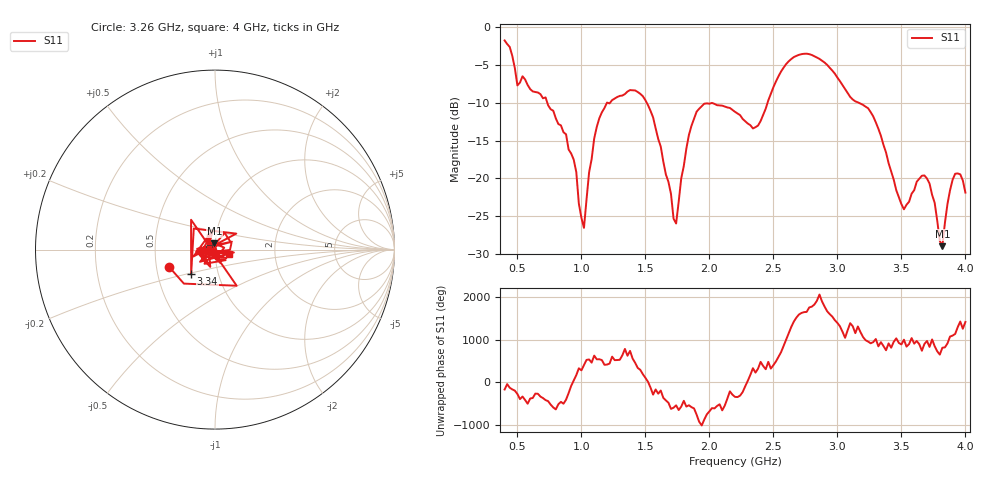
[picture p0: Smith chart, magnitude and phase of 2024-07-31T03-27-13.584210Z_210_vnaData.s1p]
!Created with skrf (http://scikit-rf.org).
# Hz S RI R 50.0
!freq ReS11 ImS11
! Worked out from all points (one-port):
!   181 points, 400 MHz to 4 GHz, reference 50 ohm
!   lowest |S11| = -28.9 dB at 3.82 GHz (marker M1), VSWR 1.07, Z = 49.6 + j3.53 ohm
!   |S11| at or under -10 dB: 733.4 MHz to 1.2 GHz (466.1 MHz wide, 48.2 % of centre); 1.51 GHz to 2.454 GHz (944.1 MHz wide, 47.6 % of centre); 3.166 GHz to end of sweep (the widest 3 of 4)
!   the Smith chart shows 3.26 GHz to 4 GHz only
!   S11 on the Smith chart (normalised r, x): 3.26 GHz: 0.58, -0.12; 3.34 GHz: 0.74, -0.21; 4 GHz: 1.16, -0.06
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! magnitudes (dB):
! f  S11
! 400 MHz  -1.8
! 500 MHz  -7.7
! 720 MHz  -9.3
! 860 MHz  -13.9
! 940 MHz  -17.5
! 1.02 GHz  -26.5
! 1.06 GHz  -19.2
! 1.12 GHz  -13.2
! 1.3 GHz  -9.1
! 1.5 GHz  -9.7
! 1.62 GHz  -15.8
! 1.72 GHz  -25.3
! 1.76 GHz  -23.1
! 1.84 GHz  -14.3
! 1.9 GHz  -11.2
! 2.2 GHz  -11.2
! 2.38 GHz  -13.0
! 2.66 GHz  -4.0
! 2.86 GHz  -4.2
! 3.1 GHz  -9.2
! 3.26 GHz  -11.2
! 3.34 GHz  -14.4
! 3.5 GHz  -23.4
! 3.56 GHz  -23.1
! 3.7 GHz  -20.0
! 3.82 GHz  -28.9
! 3.92 GHz  -19.4
! 4 GHz  -21.9
